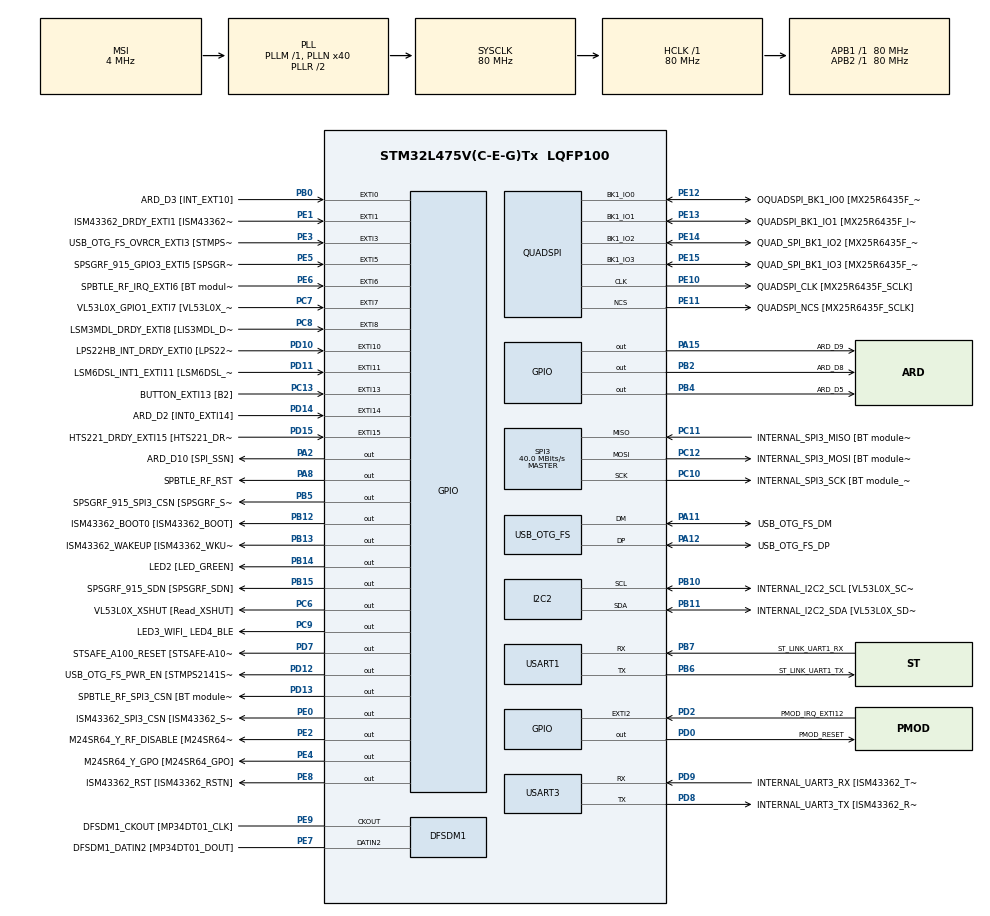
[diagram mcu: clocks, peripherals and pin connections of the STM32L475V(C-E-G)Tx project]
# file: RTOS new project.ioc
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FREERTOS.INCLUDE_xEventGroupSetBitFromISR=1
FREERTOS.INCLUDE_xTimerPendFunctionCall=1
FREERTOS.Tasks01=defaultTask,0,200,StartDefaultTask,Default,NULL,Dynamic,NULL,NULL
FREERTOS.configGENERATE_RUN_TIME_STATS=1
FREERTOS.configMINIMAL_STACK_SIZE=128
FREERTOS.configRECORD_STACK_HIGH_ADDRESS=1
FREERTOS.configTICK_RATE_HZ=200
FREERTOS.configTIMER_TASK_PRIORITY=6
FREERTOS.configTOTAL_HEAP_SIZE=20000
FREERTOS.configUSE_COUNTING_SEMAPHORES=1
FREERTOS.configUSE_NEWLIB_REENTRANT=1
FREERTOS.configUSE_STATS_FORMATTING_FUNCTIONS=1
FREERTOS.configUSE_TIMERS=1
FREERTOS.configUSE_TRACE_FACILITY=1
Mcu.Family=STM32L4
Mcu.Name=STM32L475V(C-E-G)Tx
Mcu.Package=LQFP100
NVIC.EXTI15_10_IRQn=true\:5\:0\:true\:false\:true\:true\:true\:true\:true
NVIC.EXTI1_IRQn=true\:5\:0\:false\:false\:true\:true\:true\:true\:true
NVIC.EXTI9_5_IRQn=true\:5\:0\:true\:false\:true\:true\:true\:true\:true
NVIC.PriorityGroup=NVIC_PRIORITYGROUP_4
NVIC.RTC_WKUP_IRQn=true\:7\:0\:true\:false\:true\:true\:true\:true\:true
NVIC.TIM1_UP_TIM16_IRQn=true\:15\:0\:false\:false\:true\:false\:false\:true\:true
NVIC.TIM6_DAC_IRQn=true\:5\:0\:false\:false\:true\:true\:true\:true\:true
NVIC.TIM7_IRQn=true\:5\:0\:true\:false\:true\:true\:true\:true\:true
NVIC.TimeBase=TIM1_UP_TIM16_IRQn
NVIC.TimeBaseIP=TIM1
PA0.GPIO_Label=ARD_D1 [UART4_TX]
PA0.Signal=UART4_TX
PA1.GPIO_Label=ARD_D0 [UART4_RX]
PA1.Signal=UART4_RX
PA10.GPIO_Label=USB_OTG_FS_ID
PA10.Signal=USB_OTG_FS_ID
PA11.GPIO_Label=USB_OTG_FS_DM
PA11.Mode=Device_Only
PA11.Signal=USB_OTG_FS_DM
PA12.GPIO_Label=USB_OTG_FS_DP
PA12.Mode=Device_Only
PA12.Signal=USB_OTG_FS_DP
PA13\ (JTMS-SWDIO).GPIO_Label=SYS_JTMS_SWDIO
PA13\ (JTMS-SWDIO).Mode=Serial_Wire
PA13\ (JTMS-SWDIO).Signal=SYS_JTMS-SWDIO
PA14\ (JTCK-SWCLK).GPIO_Label=SYS_JTCK_SWCLK
PA14\ (JTCK-SWCLK).Mode=Serial_Wire
PA14\ (JTCK-SWCLK).Signal=SYS_JTCK-SWCLK
PA15\ (JTDI).GPIO_Label=ARD_D9
PA15\ (JTDI).Signal=GPIO_Output
PA2.GPIO_Label=ARD_D10 [SPI_SSN]
PA2.Signal=GPIO_Output
PA3.GPIO_Label=ARD_D4
PA3.Signal=S_TIM2_CH4
PA4.GPIO_Label=ARD_D7
PA4.Signal=ADCx_IN9
PA5.GPIO_Label=ARD_D13 [SPI1_SCK]
PA5.Signal=SPI1_SCK
PA6.GPIO_Label=ARD_D12 [SPI1_MISO]
PA6.Signal=SPI1_MISO
PA7.GPIO_Label=ARD_D11 [SPI1_MOSI]
PA7.Signal=SPI1_MOSI
PA8.GPIO_Label=SPBTLE_RF_RST
PA8.Signal=GPIO_Output
PA9.GPIO_Label=USB_OTG_FS_VBUS [STMPS2141STR_OUT]
PA9.Signal=USB_OTG_FS_VBUS
PB0.GPIO_Label=ARD_D3 [INT_EXT10]
PB0.Signal=GPXTI0
PB1.GPIO_Label=ARD_D6 [ADC1_IN6]
PB1.Signal=ADCx_IN16
PB10.GPIO_Label=INTERNAL_I2C2_SCL [VL53L0X_SCL]
PB10.GPIO_Pu=GPIO_PULLUP
PB10.Mode=I2C
PB10.Signal=I2C2_SCL
PB11.GPIO_Label=INTERNAL_I2C2_SDA [VL53L0X_SDA]
PB11.GPIO_Pu=GPIO_PULLUP
PB11.Mode=I2C
PB11.Signal=I2C2_SDA
PB12.GPIO_Label=ISM43362_BOOT0 [ISM43362_BOOT]
PB12.Signal=GPIO_Output
PB13.GPIO_Label=ISM43362_WAKEUP [ISM43362_WKUP]
PB13.Signal=GPIO_Output
PB14.GPIO_Label=LED2 [LED_GREEN]
PB14.Signal=GPIO_Output
PB15.GPIO_Label=SPSGRF_915_SDN [SPSGRF_SDN]
PB15.Signal=GPIO_Output
PB2.GPIO_Label=ARD_D8
PB2.Signal=GPIO_Output
PB3\ (JTDO-TRACESWO).GPIO_Label=SYS_JTD0_SWO
PB3\ (JTDO-TRACESWO).Signal=SYS_JTDO-SWO
PB4\ (NJTRST).GPIO_Label=ARD_D5
PB4\ (NJTRST).Signal=GPIO_Output
PB5.GPIO_Label=SPSGRF_915_SPI3_CSN [SPSGRF_SPI_CS]
PB5.PinState=GPIO_PIN_SET
PB5.Signal=GPIO_Output
PB6.GPIO_Label=ST_LINK_UART1_TX
PB6.Mode=Asynchronous
PB6.Signal=USART1_TX
PB7.GPIO_Label=ST_LINK_UART1_RX
PB7.Mode=Asynchronous
PB7.Signal=USART1_RX
PB8.GPIO_Label=ARD_D15 [I2C1_SCL]
PB8.Signal=I2C1_SCL
PB9.GPIO_Label=ARD_D14 [I2C1_SDA]
PB9.Signal=I2C1_SDA
PC0.GPIO_Label=ARD_A5 [ADC]
PC0.Signal=ADCx_IN1
PC1.GPIO_Label=ARD_A4 [ADC]
PC1.Signal=ADCx_IN2
PC10.GPIO_Label=INTERNAL_SPI3_SCK [BT module_SPI_SCLK] [ISM43362_SCK]
PC10.Mode=Full_Duplex_Master
PC10.Signal=SPI3_SCK
PC11.GPIO_Label=INTERNAL_SPI3_MISO [BT module_SPI_MISO] [ISM43362_MISO]
PC11.Mode=Full_Duplex_Master
PC11.Signal=SPI3_MISO
PC12.GPIO_Label=INTERNAL_SPI3_MOSI [BT module_SPI_MOSI] [ISM43362_MOSI]
PC12.Mode=Full_Duplex_Master
PC12.Signal=SPI3_MOSI
PC13.GPIO_Label=BUTTON_EXTI13 [B2]
PC13.GPIO_ModeDefaultEXTI=GPIO_MODE_IT_FALLING
PC13.Signal=GPXTI13
PC14-OSC32_IN\ (PC14).Mode=LSE-External-Oscillator
PC14-OSC32_IN\ (PC14).Signal=RCC_OSC32_IN
PC15-OSC32_OUT\ (PC15).Mode=LSE-External-Oscillator
PC15-OSC32_OUT\ (PC15).Signal=RCC_OSC32_OUT
PC2.GPIO_Label=ARD_A3 [ADC]
PC2.Signal=ADCx_IN3
PC3.GPIO_Label=ARD_A2 [ADC]
PC3.Signal=ADCx_IN4
PC4.GPIO_Label=ARD_A1 [ADC]
PC4.Signal=ADCx_IN13
PC5.GPIO_Label=ARD_A0 [ADC]
PC5.Signal=ADCx_IN14
PC6.GPIO_Label=VL53L0X_XSHUT [Read_XSHUT]
PC6.Signal=GPIO_Output
PC7.GPIO_Label=VL53L0X_GPIO1_EXTI7 [VL53L0X_GPIO1]
PC7.Signal=GPXTI7
PC8.GPIO_Label=LSM3MDL_DRDY_EXTI8 [LIS3MDL_DRDY]
PC8.Signal=GPXTI8
PC9.GPIO_Label=LED3_WIFI_ LED4_BLE
PC9.Signal=GPIO_Output
PD0.GPIO_Label=PMOD_RESET
PD0.Signal=GPIO_Output
PD1.GPIO_Label=PMOD_SPI2_SCK
PD1.Signal=SPI2_SCK
PD10.GPIO_Label=LPS22HB_INT_DRDY_EXTI0 [LPS22HB_INT_DRDY] 
PD10.Signal=GPXTI10
PD11.GPIO_Label=LSM6DSL_INT1_EXTI11 [LSM6DSL_INT1]
PD11.Signal=GPXTI11
PD12.GPIO_Label=USB_OTG_FS_PWR_EN [STMPS2141STR_EN]
PD12.Signal=GPIO_Output
PD13.GPIO_Label=SPBTLE_RF_SPI3_CSN [BT module_SPI_CS]
PD13.PinState=GPIO_PIN_SET
PD13.Signal=GPIO_Output
PD14.GPIO_Label=ARD_D2 [INT0_EXTI14]
PD14.Signal=GPXTI14
PD15.GPIO_Label=HTS221_DRDY_EXTI15 [HTS221_DRDY]
PD15.Signal=GPXTI15
PD2.GPIO_Label=PMOD_IRQ_EXTI12
PD2.Signal=GPXTI2
PD3.GPIO_Label=PMOD_UART2_CTS
PD3.Signal=USART2_CTS
PD4.GPIO_Label=PMOD_UART2_RTS
PD4.Signal=USART2_RTS
PD5.GPIO_Label=PMOD_UART2_TX
PD5.Signal=USART2_TX
PD6.GPIO_Label=PMOD_UART2_RX
PD6.Signal=USART2_RX
PD7.GPIO_Label=STSAFE_A100_RESET [STSAFE-A100_RESET]
PD7.Signal=GPIO_Output
PD8.GPIO_Label=INTERNAL_UART3_TX [ISM43362_RX]
PD8.Mode=Asynchronous
PD8.Signal=USART3_TX
PD9.GPIO_Label=INTERNAL_UART3_RX [ISM43362_TX]
PD9.Mode=Asynchronous
PD9.Signal=USART3_RX
PE0.GPIO_Label=ISM43362_SPI3_CSN [ISM43362_SSN]
PE0.PinState=GPIO_PIN_SET
PE0.Signal=GPIO_Output
PE1.GPIO_Label=ISM43362_DRDY_EXTI1 [ISM43362_DATARDY]
PE1.Signal=GPXTI1
PE10.GPIO_Label=QUADSPI_CLK [MX25R6435F_SCLK]
PE10.Mode=Single Bank
PE10.Signal=QUADSPI_CLK
PE11.GPIO_Label=QUADSPI_NCS [MX25R6435F_SCLK]
PE11.Mode=Single Bank
PE11.Signal=QUADSPI_NCS
PE12.GPIO_Label=OQUADSPI_BK1_IO0 [MX25R6435F_IO0]
PE12.Mode=Single Bank
PE12.Signal=QUADSPI_BK1_IO0
PE13.GPIO_Label=QUADSPI_BK1_IO1 [MX25R6435F_IO1]
PE13.Mode=Single Bank
PE13.Signal=QUADSPI_BK1_IO1
PE14.GPIO_Label=QUAD_SPI_BK1_IO2 [MX25R6435F_IO2]
PE14.Mode=Single Bank
PE14.Signal=QUADSPI_BK1_IO2
PE15.GPIO_Label=QUAD_SPI_BK1_IO3 [MX25R6435F_IO3]
PE15.Mode=Single Bank
PE15.Signal=QUADSPI_BK1_IO3
PE2.GPIO_Label=M24SR64_Y_RF_DISABLE [M24SR64_RFDIS]
PE2.Signal=GPIO_Output
PE3.GPIO_Label=USB_OTG_FS_OVRCR_EXTI3 [STMPS2141STR_FAULT]
PE3.Signal=GPXTI3
PE4.GPIO_Label=M24SR64_Y_GPO [M24SR64_GPO]
PE4.Signal=GPIO_Output
PE5.GPIO_Label=SPSGRF_915_GPIO3_EXTI5 [SPSGRF_GPIO_3]
PE5.Signal=GPXTI5
PE6.GPIO_Label=SPBTLE_RF_IRQ_EXTI6 [BT module_SPI_IRQ]
PE6.Signal=GPXTI6
PE7.GPIO_Label=DFSDM1_DATIN2 [MP34DT01_DOUT]
PE7.Signal=S_DATAIN2DFSDM1
PE8.GPIO_Label=ISM43362_RST [ISM43362_RSTN]
PE8.Signal=GPIO_Output
PE9.GPIO_Label=DFSDM1_CKOUT [MP34DT01_CLK]
PE9.Signal=S_CKOUTDFSDM1
ProjectManager.HeapSize=0x200
ProjectManager.StackSize=0x400
ProjectManager.TargetToolchain=STM32CubeIDE
QUADSPI.ClockPrescaler=2
QUADSPI.FifoThreshold=4
QUADSPI.FlashSize=23
QUADSPI.SampleShifting=QSPI_SAMPLE_SHIFTING_HALFCYCLE
RCC.ADCFreq_Value=48000000
RCC.AHBFreq_Value=80000000
RCC.APB1Freq_Value=80000000
RCC.APB1TimFreq_Value=80000000
RCC.APB2Freq_Value=80000000
RCC.APB2TimFreq_Value=80000000
RCC.CortexFreq_Value=80000000
RCC.HCLKFreq_Value=80000000
RCC.HSE_VALUE=8000000
RCC.HSI_VALUE=16000000
RCC.MSI_VALUE=4000000
RCC.PLLN=40
RCC.PLLSAI1N=24
RCC.SYSCLKFreq_VALUE=80000000
RCC.SYSCLKSource=RCC_SYSCLKSOURCE_PLLCLK
RCC.USBFreq_Value=48000000
RCC.VCOOutputFreq_Value=160000000
SH.ADCx_IN1.0=ADC1_IN1
SH.ADCx_IN13.0=ADC1_IN13
SH.ADCx_IN14.0=ADC1_IN14
SH.ADCx_IN16.0=ADC1_IN16
SH.ADCx_IN2.0=ADC1_IN2
SH.ADCx_IN3.0=ADC1_IN3
SH.ADCx_IN4.0=ADC1_IN4
SH.ADCx_IN9.0=ADC1_IN9
SH.S_CKOUTDFSDM1.0=DFSDM1_CKOUT,CKOUT
SH.S_CKOUTDFSDM1.1=DFSDM1_CKOUT,PDM_SPI_Input_from_ch12_and_Internal_Clock
SH.S_DATAIN2DFSDM1.0=DFSDM1_DATIN2,PDM_SPI_Input_from_ch12_and_Internal_Clock
SH.S_TIM2_CH4.0=TIM2_CH4
SPI3.CalculateBaudRate=40.0 MBits/s
SPI3.Direction=SPI_DIRECTION_2LINES
SPI3.Mode=SPI_MODE_MASTER
SPI3.VirtualType=VM_MASTER
TIM6.Period=49999
TIM6.Prescaler=7999
TIM7.Period=7999
USART1.VirtualMode-Asynchronous=VM_ASYNC
USART3.VirtualMode-Asynchronous=VM_ASYNC
USB_OTG_FS.VirtualMode=Device_Only
VP_FREERTOS_VS_CMSIS_V1.Mode=CMSIS_V1
VP_RNG_VS_RNG.Mode=RNG_Activate
VP_RTC_VS_RTC_Activate.Mode=RTC_Enabled
VP_RTC_VS_RTC_WakeUp_intern.Mode=WakeUp
VP_SYS_VS_tim1.Mode=TIM1
VP_TIM6_VS_ClockSourceINT.Mode=Enable_Timer
VP_TIM7_VS_ClockSourceINT.Mode=Enable_Timer
board=B-L475E-IOT01A1

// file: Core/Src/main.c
/* USER CODE BEGIN Header */
/**
  ******************************************************************************
  * @file           : main.c
  * @brief          : Main program body
  ******************************************************************************
  * @attention
  *
  * Copyright (c) 2022 STMicroelectronics.
  * All rights reserved.
  *
  * This software is licensed under terms that can be found in the LICENSE file
  * in the root directory of this software component.
  * If no LICENSE file comes with this software, it is provided AS-IS.
  *
  ******************************************************************************
  */

/*
 * V1.0
 * Niall O'Keeffe
 * 18/10/2024
 *
 * FreeRTOS IoT project
 * Connects to Ubidots MQTT broker
 * Retrieves time and date from the network and prints to terminal every second
 * Publishes a temperature when the user button is pressed
 * Subscribes to an MQTT topic that controls LED2
 *
 * An initialisation task is created on startup
 * Initialisation task performs the following functions: -
 * 		Connect to WiFi access point
 * 		Retrieves data and time from network
 * 		Connects to MQTT broker
 * 		Creates semaphores used for task synchronisation
 * 		Creates RTC and Temperature tasks
 * 		Subscribed to an MQTT LED control topic
 *
 * Publish task publishes a temperature to an MQTT topic every 5 seconds on taking a semaphore
 * from the Timer 6 interrupt handler callback
 *
 * RTC task prints time and date every second on taking semaphore from RTC event interrupt
 *  handler callback
 *
 * Project uses 3 timers: -
 * 		Timer 1 is used as RTOS timebase and should not be used by application
 * 		Timer 7 is used for real time RTOS debug statistics and should not be used by application
 *
 * The project application uses the following interrupts
 * 		User button EXTI interrupt
 * 		RTC 1-second event interrupt
 *
 * User credentials must be configured before building the project
 * 		Edit WiFi access point SSID and password in WiFi_Credentials.h
 * 		Edit username, password and clientID in CloudBrokerCredentials.h
 */

/* USER CODE END Header */
#include "main.h"
#include "cmsis_os.h"

/* USER CODE BEGIN Includes */
#include <string.h>
#include "userApp.h"
/* USER CODE END Includes */

DFSDM_Channel_HandleTypeDef hdfsdm1_channel1;

I2C_HandleTypeDef hi2c2;

QSPI_HandleTypeDef hqspi;

RNG_HandleTypeDef hrng;

RTC_HandleTypeDef hrtc;

SPI_HandleTypeDef hspi3;

TIM_HandleTypeDef htim6;
TIM_HandleTypeDef htim7;

UART_HandleTypeDef huart1;
UART_HandleTypeDef huart3;

PCD_HandleTypeDef hpcd_USB_OTG_FS;

osThreadId defaultTaskHandle;
/* USER CODE BEGIN PV */
volatile unsigned long ulHighFrequencyTimerTicks;
/* USER CODE END PV */

void SystemClock_Config(void);
void PeriphCommonClock_Config(void);
static void MX_GPIO_Init(void);
static void MX_DFSDM1_Init(void);
static void MX_I2C2_Init(void);
static void MX_QUADSPI_Init(void);
static void MX_SPI3_Init(void);
static void MX_USART1_UART_Init(void);
static void MX_USART3_UART_Init(void);
static void MX_USB_OTG_FS_PCD_Init(void);
static void MX_TIM7_Init(void);
static void MX_RNG_Init(void);
static void MX_RTC_Init(void);
static void MX_TIM6_Init(void);
void StartDefaultTask(void const * argument);

/* USER CODE BEGIN PFP */
int network_wr(Network* n, unsigned char* buffer, int len, int timeout_ms);
int network_rd(Network* n, unsigned char* buffer, int len, int timeout_ms);

extern int net_if_init(void * if_ctxt);
extern int net_if_deinit(void * if_ctxt);
extern int net_if_reinit(void * if_ctxt);
extern int wifi_net_if_init(void * if_ctxt);

void SPI_WIFI_ISR(void);
/* USER CODE END PFP */

/* USER CODE BEGIN 0 */
int _write(int file, char *ptr, int len) {
	HAL_UART_Transmit(&huart1, (uint8_t*)ptr, len, HAL_MAX_DELAY);
	return len;
}

void configureTimerForRunTimeStats(void)
{
    ulHighFrequencyTimerTicks = 0;
    HAL_TIM_Base_Start_IT(&htim7);
}

unsigned long getRunTimeCounterValue(void)
{
	return ulHighFrequencyTimerTicks;
}

/* USER CODE END 0 */

int main(void)
{

  /* MCU Configuration--------------------------------------------------------*/

  /* Reset of all peripherals, Initializes the Flash interface and the Systick. */
  HAL_Init();

  /* Configure the system clock */
  SystemClock_Config();

/* Configure the peripherals common clocks */
  PeriphCommonClock_Config();

  /* Initialize all configured peripherals */
  MX_GPIO_Init();
  MX_DFSDM1_Init();
  MX_I2C2_Init();
  MX_QUADSPI_Init();
  MX_SPI3_Init();
  MX_USART1_UART_Init();
  MX_USART3_UART_Init();
  MX_USB_OTG_FS_PCD_Init();
  MX_TIM7_Init();
  MX_RNG_Init();
  MX_RTC_Init();
  MX_TIM6_Init();
  /* USER CODE BEGIN 2 */
  printf("IoT Project\r\n\n");
  userApp();

  /* USER CODE END 2 */

  /* Create the thread(s) */
  /* definition and creation of defaultTask */
  osThreadDef(defaultTask, StartDefaultTask, osPriorityNormal, 0, 200);
  defaultTaskHandle = osThreadCreate(osThread(defaultTask), NULL);

  /* Start scheduler */
  osKernelStart();

  /* We should never get here as control is now taken by the scheduler */

  /* Infinite loop */
  while (1)
  {

  }
}

void SystemClock_Config(void)
{
  RCC_OscInitTypeDef RCC_OscInitStruct = {0};
  RCC_ClkInitTypeDef RCC_ClkInitStruct = {0};

  /** Configure the main internal regulator output voltage
  */
  if (HAL_PWREx_ControlVoltageScaling(PWR_REGULATOR_VOLTAGE_SCALE1) != HAL_OK)
  {
    Error_Handler();
  }

  /** Configure LSE Drive Capability
  */
  HAL_PWR_EnableBkUpAccess();
  __HAL_RCC_LSEDRIVE_CONFIG(RCC_LSEDRIVE_LOW);

  /** Initializes the RCC Oscillators according to the specified parameters
  * in the RCC_OscInitTypeDef structure.
  */
  RCC_OscInitStruct.OscillatorType = RCC_OSCILLATORTYPE_LSI|RCC_OSCILLATORTYPE_LSE
                              |RCC_OSCILLATORTYPE_MSI;
  RCC_OscInitStruct.LSEState = RCC_LSE_ON;
  RCC_OscInitStruct.LSIState = RCC_LSI_ON;
  RCC_OscInitStruct.MSIState = RCC_MSI_ON;
  RCC_OscInitStruct.MSICalibrationValue = 0;
  RCC_OscInitStruct.MSIClockRange = RCC_MSIRANGE_6;
  RCC_OscInitStruct.PLL.PLLState = RCC_PLL_ON;
  RCC_OscInitStruct.PLL.PLLSource = RCC_PLLSOURCE_MSI;
  RCC_OscInitStruct.PLL.PLLM = 1;
  RCC_OscInitStruct.PLL.PLLN = 40;
  RCC_OscInitStruct.PLL.PLLP = RCC_PLLP_DIV7;
  RCC_OscInitStruct.PLL.PLLQ = RCC_PLLQ_DIV2;
  RCC_OscInitStruct.PLL.PLLR = RCC_PLLR_DIV2;
  if (HAL_RCC_OscConfig(&RCC_OscInitStruct) != HAL_OK)
  {
    Error_Handler();
  }

  /** Initializes the CPU, AHB and APB buses clocks
  */
  RCC_ClkInitStruct.ClockType = RCC_CLOCKTYPE_HCLK|RCC_CLOCKTYPE_SYSCLK
                              |RCC_CLOCKTYPE_PCLK1|RCC_CLOCKTYPE_PCLK2;
  RCC_ClkInitStruct.SYSCLKSource = RCC_SYSCLKSOURCE_PLLCLK;
  RCC_ClkInitStruct.AHBCLKDivider = RCC_SYSCLK_DIV1;
  RCC_ClkInitStruct.APB1CLKDivider = RCC_HCLK_DIV1;
  RCC_ClkInitStruct.APB2CLKDivider = RCC_HCLK_DIV1;

  if (HAL_RCC_ClockConfig(&RCC_ClkInitStruct, FLASH_LATENCY_4) != HAL_OK)
  {
    Error_Handler();
  }

  /** Enable MSI Auto calibration
  */
  HAL_RCCEx_EnableMSIPLLMode();
}

void PeriphCommonClock_Config(void)
{
  RCC_PeriphCLKInitTypeDef PeriphClkInit = {0};

  /** Initializes the peripherals clock
  */
  PeriphClkInit.PeriphClockSelection = RCC_PERIPHCLK_USB|RCC_PERIPHCLK_RNG;
  PeriphClkInit.UsbClockSelection = RCC_USBCLKSOURCE_PLLSAI1;
  PeriphClkInit.RngClockSelection = RCC_RNGCLKSOURCE_PLLSAI1;
  PeriphClkInit.PLLSAI1.PLLSAI1Source = RCC_PLLSOURCE_MSI;
  PeriphClkInit.PLLSAI1.PLLSAI1M = 1;
  PeriphClkInit.PLLSAI1.PLLSAI1N = 24;
  PeriphClkInit.PLLSAI1.PLLSAI1P = RCC_PLLP_DIV7;
  PeriphClkInit.PLLSAI1.PLLSAI1Q = RCC_PLLQ_DIV2;
  PeriphClkInit.PLLSAI1.PLLSAI1R = RCC_PLLR_DIV2;
  PeriphClkInit.PLLSAI1.PLLSAI1ClockOut = RCC_PLLSAI1_48M2CLK;
  if (HAL_RCCEx_PeriphCLKConfig(&PeriphClkInit) != HAL_OK)
  {
    Error_Handler();
  }
}

static void MX_DFSDM1_Init(void)
{

  hdfsdm1_channel1.Instance = DFSDM1_Channel1;
  hdfsdm1_channel1.Init.OutputClock.Activation = ENABLE;
  hdfsdm1_channel1.Init.OutputClock.Selection = DFSDM_CHANNEL_OUTPUT_CLOCK_SYSTEM;
  hdfsdm1_channel1.Init.OutputClock.Divider = 2;
  hdfsdm1_channel1.Init.Input.Multiplexer = DFSDM_CHANNEL_EXTERNAL_INPUTS;
  hdfsdm1_channel1.Init.Input.DataPacking = DFSDM_CHANNEL_STANDARD_MODE;
  hdfsdm1_channel1.Init.Input.Pins = DFSDM_CHANNEL_FOLLOWING_CHANNEL_PINS;
  hdfsdm1_channel1.Init.SerialInterface.Type = DFSDM_CHANNEL_SPI_RISING;
  hdfsdm1_channel1.Init.SerialInterface.SpiClock = DFSDM_CHANNEL_SPI_CLOCK_INTERNAL;
  hdfsdm1_channel1.Init.Awd.FilterOrder = DFSDM_CHANNEL_FASTSINC_ORDER;
  hdfsdm1_channel1.Init.Awd.Oversampling = 1;
  hdfsdm1_channel1.Init.Offset = 0;
  hdfsdm1_channel1.Init.RightBitShift = 0x00;
  if (HAL_DFSDM_ChannelInit(&hdfsdm1_channel1) != HAL_OK)
  {
    Error_Handler();
  }

}

static void MX_I2C2_Init(void)
{

  hi2c2.Instance = I2C2;
  hi2c2.Init.Timing = 0x00000E14;
  hi2c2.Init.OwnAddress1 = 0;
  hi2c2.Init.AddressingMode = I2C_ADDRESSINGMODE_7BIT;
  hi2c2.Init.DualAddressMode = I2C_DUALADDRESS_DISABLE;
  hi2c2.Init.OwnAddress2 = 0;
  hi2c2.Init.OwnAddress2Masks = I2C_OA2_NOMASK;
  hi2c2.Init.GeneralCallMode = I2C_GENERALCALL_DISABLE;
  hi2c2.Init.NoStretchMode = I2C_NOSTRETCH_DISABLE;
  if (HAL_I2C_Init(&hi2c2) != HAL_OK)
  {
    Error_Handler();
  }

  /** Configure Analogue filter
  */
  if (HAL_I2CEx_ConfigAnalogFilter(&hi2c2, I2C_ANALOGFILTER_ENABLE) != HAL_OK)
  {
    Error_Handler();
  }

  /** Configure Digital filter
  */
  if (HAL_I2CEx_ConfigDigitalFilter(&hi2c2, 0) != HAL_OK)
  {
    Error_Handler();
  }

}

static void MX_QUADSPI_Init(void)
{

  /* QUADSPI parameter configuration*/
  hqspi.Instance = QUADSPI;
  hqspi.Init.ClockPrescaler = 2;
  hqspi.Init.FifoThreshold = 4;
  hqspi.Init.SampleShifting = QSPI_SAMPLE_SHIFTING_HALFCYCLE;
  hqspi.Init.FlashSize = 23;
  hqspi.Init.ChipSelectHighTime = QSPI_CS_HIGH_TIME_1_CYCLE;
  hqspi.Init.ClockMode = QSPI_CLOCK_MODE_0;
  if (HAL_QSPI_Init(&hqspi) != HAL_OK)
  {
    Error_Handler();
  }

}

static void MX_RNG_Init(void)
{

  hrng.Instance = RNG;
  if (HAL_RNG_Init(&hrng) != HAL_OK)
  {
    Error_Handler();
  }

}

static void MX_RTC_Init(void)
{

  /** Initialize RTC Only
  */
  hrtc.Instance = RTC;
  hrtc.Init.HourFormat = RTC_HOURFORMAT_24;
  hrtc.Init.AsynchPrediv = 127;
  hrtc.Init.SynchPrediv = 255;
  hrtc.Init.OutPut = RTC_OUTPUT_DISABLE;
  hrtc.Init.OutPutRemap = RTC_OUTPUT_REMAP_NONE;
  hrtc.Init.OutPutPolarity = RTC_OUTPUT_POLARITY_HIGH;
  hrtc.Init.OutPutType = RTC_OUTPUT_TYPE_OPENDRAIN;
  if (HAL_RTC_Init(&hrtc) != HAL_OK)
  {
    Error_Handler();
  }

}

static void MX_SPI3_Init(void)
{

  /* SPI3 parameter configuration*/
  hspi3.Instance = SPI3;
  hspi3.Init.Mode = SPI_MODE_MASTER;
  hspi3.Init.Direction = SPI_DIRECTION_2LINES;
  hspi3.Init.DataSize = SPI_DATASIZE_4BIT;
  hspi3.Init.CLKPolarity = SPI_POLARITY_LOW;
  hspi3.Init.CLKPhase = SPI_PHASE_1EDGE;
  hspi3.Init.NSS = SPI_NSS_SOFT;
  hspi3.Init.BaudRatePrescaler = SPI_BAUDRATEPRESCALER_2;
  hspi3.Init.FirstBit = SPI_FIRSTBIT_MSB;
  hspi3.Init.TIMode = SPI_TIMODE_DISABLE;
  hspi3.Init.CRCCalculation = SPI_CRCCALCULATION_DISABLE;
  hspi3.Init.CRCPolynomial = 7;
  hspi3.Init.CRCLength = SPI_CRC_LENGTH_DATASIZE;
  hspi3.Init.NSSPMode = SPI_NSS_PULSE_ENABLE;
  if (HAL_SPI_Init(&hspi3) != HAL_OK)
  {
    Error_Handler();
  }

}

static void MX_TIM6_Init(void)
{

  TIM_MasterConfigTypeDef sMasterConfig = {0};

  htim6.Instance = TIM6;
  htim6.Init.Prescaler = 7999;
  htim6.Init.CounterMode = TIM_COUNTERMODE_UP;
  htim6.Init.Period = 49999;
  htim6.Init.AutoReloadPreload = TIM_AUTORELOAD_PRELOAD_DISABLE;
  if (HAL_TIM_Base_Init(&htim6) != HAL_OK)
  {
    Error_Handler();
  }
  sMasterConfig.MasterOutputTrigger = TIM_TRGO_RESET;
  sMasterConfig.MasterSlaveMode = TIM_MASTERSLAVEMODE_DISABLE;
  if (HAL_TIMEx_MasterConfigSynchronization(&htim6, &sMasterConfig) != HAL_OK)
  {
    Error_Handler();
  }

}

static void MX_TIM7_Init(void)
{

  TIM_MasterConfigTypeDef sMasterConfig = {0};

  htim7.Instance = TIM7;
  htim7.Init.Prescaler = 0;
  htim7.Init.CounterMode = TIM_COUNTERMODE_UP;
  htim7.Init.Period = 7999;
  htim7.Init.AutoReloadPreload = TIM_AUTORELOAD_PRELOAD_DISABLE;
  if (HAL_TIM_Base_Init(&htim7) != HAL_OK)
  {
    Error_Handler();
  }
  sMasterConfig.MasterOutputTrigger = TIM_TRGO_RESET;
  sMasterConfig.MasterSlaveMode = TIM_MASTERSLAVEMODE_DISABLE;
  if (HAL_TIMEx_MasterConfigSynchronization(&htim7, &sMasterConfig) != HAL_OK)
  {
    Error_Handler();
  }

}

static void MX_USART1_UART_Init(void)
{

  huart1.Instance = USART1;
  huart1.Init.BaudRate = 115200;
  huart1.Init.WordLength = UART_WORDLENGTH_8B;
  huart1.Init.StopBits = UART_STOPBITS_1;
  huart1.Init.Parity = UART_PARITY_NONE;
  huart1.Init.Mode = UART_MODE_TX_RX;
  huart1.Init.HwFlowCtl = UART_HWCONTROL_NONE;
  huart1.Init.OverSampling = UART_OVERSAMPLING_16;
  huart1.Init.OneBitSampling = UART_ONE_BIT_SAMPLE_DISABLE;
  huart1.AdvancedInit.AdvFeatureInit = UART_ADVFEATURE_NO_INIT;
  if (HAL_UART_Init(&huart1) != HAL_OK)
  {
    Error_Handler();
  }

}

static void MX_USART3_UART_Init(void)
{

  huart3.Instance = USART3;
  huart3.Init.BaudRate = 115200;
  huart3.Init.WordLength = UART_WORDLENGTH_8B;
  huart3.Init.StopBits = UART_STOPBITS_1;
  huart3.Init.Parity = UART_PARITY_NONE;
  huart3.Init.Mode = UART_MODE_TX_RX;
  huart3.Init.HwFlowCtl = UART_HWCONTROL_NONE;
  huart3.Init.OverSampling = UART_OVERSAMPLING_16;
  huart3.Init.OneBitSampling = UART_ONE_BIT_SAMPLE_DISABLE;
  huart3.AdvancedInit.AdvFeatureInit = UART_ADVFEATURE_NO_INIT;
  if (HAL_UART_Init(&huart3) != HAL_OK)
  {
    Error_Handler();
  }

}

static void MX_USB_OTG_FS_PCD_Init(void)
{

  hpcd_USB_OTG_FS.Instance = USB_OTG_FS;
  hpcd_USB_OTG_FS.Init.dev_endpoints = 6;
  hpcd_USB_OTG_FS.Init.speed = PCD_SPEED_FULL;
  hpcd_USB_OTG_FS.Init.phy_itface = PCD_PHY_EMBEDDED;
  hpcd_USB_OTG_FS.Init.Sof_enable = DISABLE;
  hpcd_USB_OTG_FS.Init.low_power_enable = DISABLE;
  hpcd_USB_OTG_FS.Init.lpm_enable = DISABLE;
  hpcd_USB_OTG_FS.Init.battery_charging_enable = DISABLE;
  hpcd_USB_OTG_FS.Init.use_dedicated_ep1 = DISABLE;
  hpcd_USB_OTG_FS.Init.vbus_sensing_enable = DISABLE;
  if (HAL_PCD_Init(&hpcd_USB_OTG_FS) != HAL_OK)
  {
    Error_Handler();
  }

}

static void MX_GPIO_Init(void)
{
  GPIO_InitTypeDef GPIO_InitStruct = {0};

  /* GPIO Ports Clock Enable */
  __HAL_RCC_GPIOE_CLK_ENABLE();
  __HAL_RCC_GPIOC_CLK_ENABLE();
  __HAL_RCC_GPIOA_CLK_ENABLE();
  __HAL_RCC_GPIOB_CLK_ENABLE();
  __HAL_RCC_GPIOD_CLK_ENABLE();

  /*Configure GPIO pin Output Level */
  HAL_GPIO_WritePin(GPIOE, M24SR64_Y_RF_DISABLE_Pin|M24SR64_Y_GPO_Pin|ISM43362_RST_Pin, GPIO_PIN_RESET);

  /*Configure GPIO pin Output Level */
  HAL_GPIO_WritePin(GPIOA, ARD_D10_Pin|SPBTLE_RF_RST_Pin|ARD_D9_Pin, GPIO_PIN_RESET);

  /*Configure GPIO pin Output Level */
  HAL_GPIO_WritePin(GPIOB, ARD_D8_Pin|ISM43362_BOOT0_Pin|ISM43362_WAKEUP_Pin|LED2_Pin
                          |SPSGRF_915_SDN_Pin|ARD_D5_Pin, GPIO_PIN_RESET);

  /*Configure GPIO pin Output Level */
  HAL_GPIO_WritePin(GPIOD, USB_OTG_FS_PWR_EN_Pin|PMOD_RESET_Pin|STSAFE_A100_RESET_Pin, GPIO_PIN_RESET);

  /*Configure GPIO pin Output Level */
  HAL_GPIO_WritePin(SPBTLE_RF_SPI3_CSN_GPIO_Port, SPBTLE_RF_SPI3_CSN_Pin, GPIO_PIN_SET);

  /*Configure GPIO pin Output Level */
  HAL_GPIO_WritePin(GPIOC, VL53L0X_XSHUT_Pin|LED3_WIFI__LED4_BLE_Pin, GPIO_PIN_RESET);

  /*Configure GPIO pin Output Level */
  HAL_GPIO_WritePin(SPSGRF_915_SPI3_CSN_GPIO_Port, SPSGRF_915_SPI3_CSN_Pin, GPIO_PIN_SET);

  /*Configure GPIO pin Output Level */
  HAL_GPIO_WritePin(ISM43362_SPI3_CSN_GPIO_Port, ISM43362_SPI3_CSN_Pin, GPIO_PIN_SET);

  /*Configure GPIO pins : M24SR64_Y_RF_DISABLE_Pin M24SR64_Y_GPO_Pin ISM43362_RST_Pin ISM43362_SPI3_CSN_Pin */
  GPIO_InitStruct.Pin = M24SR64_Y_RF_DISABLE_Pin|M24SR64_Y_GPO_Pin|ISM43362_RST_Pin|ISM43362_SPI3_CSN_Pin;
  GPIO_InitStruct.Mode = GPIO_MODE_OUTPUT_PP;
  GPIO_InitStruct.Pull = GPIO_NOPULL;
  GPIO_InitStruct.Speed = GPIO_SPEED_FREQ_LOW;
  HAL_GPIO_Init(GPIOE, &GPIO_InitStruct);

  /*Configure GPIO pins : USB_OTG_FS_OVRCR_EXTI3_Pin SPSGRF_915_GPIO3_EXTI5_Pin SPBTLE_RF_IRQ_EXTI6_Pin ISM43362_DRDY_EXTI1_Pin */
  GPIO_InitStruct.Pin = USB_OTG_FS_OVRCR_EXTI3_Pin|SPSGRF_915_GPIO3_EXTI5_Pin|SPBTLE_RF_IRQ_EXTI6_Pin|ISM43362_DRDY_EXTI1_Pin;
  GPIO_InitStruct.Mode = GPIO_MODE_IT_RISING;
  GPIO_InitStruct.Pull = GPIO_NOPULL;
  HAL_GPIO_Init(GPIOE, &GPIO_InitStruct);

  /*Configure GPIO pin : BUTTON_EXTI13_Pin */
  GPIO_InitStruct.Pin = BUTTON_EXTI13_Pin;
  GPIO_InitStruct.Mode = GPIO_MODE_IT_FALLING;
  GPIO_InitStruct.Pull = GPIO_NOPULL;
  HAL_GPIO_Init(BUTTON_EXTI13_GPIO_Port, &GPIO_InitStruct);

  /*Configure GPIO pins : ARD_A5_Pin ARD_A4_Pin ARD_A3_Pin ARD_A2_Pin
                           ARD_A1_Pin ARD_A0_Pin */
  GPIO_InitStruct.Pin = ARD_A5_Pin|ARD_A4_Pin|ARD_A3_Pin|ARD_A2_Pin
                          |ARD_A1_Pin|ARD_A0_Pin;
  GPIO_InitStruct.Mode = GPIO_MODE_ANALOG_ADC_CONTROL;
  GPIO_InitStruct.Pull = GPIO_NOPULL;
  HAL_GPIO_Init(GPIOC, &GPIO_InitStruct);

  /*Configure GPIO pins : ARD_D1_Pin ARD_D0_Pin */
  GPIO_InitStruct.Pin = ARD_D1_Pin|ARD_D0_Pin;
  GPIO_InitStruct.Mode = GPIO_MODE_AF_PP;
  GPIO_InitStruct.Pull = GPIO_NOPULL;
  GPIO_InitStruct.Speed = GPIO_SPEED_FREQ_VERY_HIGH;
  GPIO_InitStruct.Alternate = GPIO_AF8_UART4;
  HAL_GPIO_Init(GPIOA, &GPIO_InitStruct);

  /*Configure GPIO pins : ARD_D10_Pin SPBTLE_RF_RST_Pin ARD_D9_Pin */
  GPIO_InitStruct.Pin = ARD_D10_Pin|SPBTLE_RF_RST_Pin|ARD_D9_Pin;
  GPIO_InitStruct.Mode = GPIO_MODE_OUTPUT_PP;
  GPIO_InitStruct.Pull = GPIO_NOPULL;
  GPIO_InitStruct.Speed = GPIO_SPEED_FREQ_LOW;
  HAL_GPIO_Init(GPIOA, &GPIO_InitStruct);

  /*Configure GPIO pin : ARD_D4_Pin */
  GPIO_InitStruct.Pin = ARD_D4_Pin;
  GPIO_InitStruct.Mode = GPIO_MODE_AF_PP;
  GPIO_InitStruct.Pull = GPIO_NOPULL;
  GPIO_InitStruct.Speed = GPIO_SPEED_FREQ_LOW;
  GPIO_InitStruct.Alternate = GPIO_AF1_TIM2;
  HAL_GPIO_Init(ARD_D4_GPIO_Port, &GPIO_InitStruct);

  /*Configure GPIO pin : ARD_D7_Pin */
  GPIO_InitStruct.Pin = ARD_D7_Pin;
  GPIO_InitStruct.Mode = GPIO_MODE_ANALOG_ADC_CONTROL;
  GPIO_InitStruct.Pull = GPIO_NOPULL;
  HAL_GPIO_Init(ARD_D7_GPIO_Port, &GPIO_InitStruct);

  /*Configure GPIO pins : ARD_D13_Pin ARD_D12_Pin ARD_D11_Pin */
  GPIO_InitStruct.Pin = ARD_D13_Pin|ARD_D12_Pin|ARD_D11_Pin;
  GPIO_InitStruct.Mode = GPIO_MODE_AF_PP;
  GPIO_InitStruct.Pull = GPIO_NOPULL;
  GPIO_InitStruct.Speed = GPIO_SPEED_FREQ_VERY_HIGH;
  GPIO_InitStruct.Alternate = GPIO_AF5_SPI1;
  HAL_GPIO_Init(GPIOA, &GPIO_InitStruct);

  /*Configure GPIO pin : ARD_D3_Pin */
  GPIO_InitStruct.Pin = ARD_D3_Pin;
  GPIO_InitStruct.Mode = GPIO_MODE_IT_RISING;
  GPIO_InitStruct.Pull = GPIO_NOPULL;
  HAL_GPIO_Init(ARD_D3_GPIO_Port, &GPIO_InitStruct);

  /*Configure GPIO pin : ARD_D6_Pin */
  GPIO_InitStruct.Pin = ARD_D6_Pin;
  GPIO_InitStruct.Mode = GPIO_MODE_ANALOG_ADC_CONTROL;
  GPIO_InitStruct.Pull = GPIO_NOPULL;
  HAL_GPIO_Init(ARD_D6_GPIO_Port, &GPIO_InitStruct);

  /*Configure GPIO pins : ARD_D8_Pin ISM43362_BOOT0_Pin ISM43362_WAKEUP_Pin LED2_Pin
                           SPSGRF_915_SDN_Pin ARD_D5_Pin SPSGRF_915_SPI3_CSN_Pin */
  GPIO_InitStruct.Pin = ARD_D8_Pin|ISM43362_BOOT0_Pin|ISM43362_WAKEUP_Pin|LED2_Pin
                          |SPSGRF_915_SDN_Pin|ARD_D5_Pin|SPSGRF_915_SPI3_CSN_Pin;
  GPIO_InitStruct.Mode = GPIO_MODE_OUTPUT_PP;
  GPIO_InitStruct.Pull = GPIO_NOPULL;
  GPIO_InitStruct.Speed = GPIO_SPEED_FREQ_LOW;
  HAL_GPIO_Init(GPIOB, &GPIO_InitStruct);

  /*Configure GPIO pins : LPS22HB_INT_DRDY_EXTI0_Pin LSM6DSL_INT1_EXTI11_Pin ARD_D2_Pin HTS221_DRDY_EXTI15_Pin
                           PMOD_IRQ_EXTI12_Pin */
  GPIO_InitStruct.Pin = LPS22HB_INT_DRDY_EXTI0_Pin|LSM6DSL_INT1_EXTI11_Pin|ARD_D2_Pin|HTS221_DRDY_EXTI15_Pin
                          |PMOD_IRQ_EXTI12_Pin;
  GPIO_InitStruct.Mode = GPIO_MODE_IT_RISING;
  GPIO_InitStruct.Pull = GPIO_NOPULL;
  HAL_GPIO_Init(GPIOD, &GPIO_InitStruct);

  /*Configure GPIO pins : USB_OTG_FS_PWR_EN_Pin SPBTLE_RF_SPI3_CSN_Pin PMOD_RESET_Pin STSAFE_A100_RESET_Pin */
  GPIO_InitStruct.Pin = USB_OTG_FS_PWR_EN_Pin|SPBTLE_RF_SPI3_CSN_Pin|PMOD_RESET_Pin|STSAFE_A100_RESET_Pin;
  GPIO_InitStruct.Mode = GPIO_MODE_OUTPUT_PP;
  GPIO_InitStruct.Pull = GPIO_NOPULL;
  GPIO_InitStruct.Speed = GPIO_SPEED_FREQ_LOW;
  HAL_GPIO_Init(GPIOD, &GPIO_InitStruct);

  /*Configure GPIO pins : VL53L0X_XSHUT_Pin LED3_WIFI__LED4_BLE_Pin */
  GPIO_InitStruct.Pin = VL53L0X_XSHUT_Pin|LED3_WIFI__LED4_BLE_Pin;
  GPIO_InitStruct.Mode = GPIO_MODE_OUTPUT_PP;
  GPIO_InitStruct.Pull = GPIO_NOPULL;
  GPIO_InitStruct.Speed = GPIO_SPEED_FREQ_LOW;
  HAL_GPIO_Init(GPIOC, &GPIO_InitStruct);

  /*Configure GPIO pins : VL53L0X_GPIO1_EXTI7_Pin LSM3MDL_DRDY_EXTI8_Pin */
  GPIO_InitStruct.Pin = VL53L0X_GPIO1_EXTI7_Pin|LSM3MDL_DRDY_EXTI8_Pin;
  GPIO_InitStruct.Mode = GPIO_MODE_IT_RISING;
  GPIO_InitStruct.Pull = GPIO_NOPULL;
  HAL_GPIO_Init(GPIOC, &GPIO_InitStruct);

  /*Configure GPIO pin : PMOD_SPI2_SCK_Pin */
  GPIO_InitStruct.Pin = PMOD_SPI2_SCK_Pin;
  GPIO_InitStruct.Mode = GPIO_MODE_AF_PP;
  GPIO_InitStruct.Pull = GPIO_NOPULL;
  GPIO_InitStruct.Speed = GPIO_SPEED_FREQ_VERY_HIGH;
  GPIO_InitStruct.Alternate = GPIO_AF5_SPI2;
  HAL_GPIO_Init(PMOD_SPI2_SCK_GPIO_Port, &GPIO_InitStruct);

  /*Configure GPIO pins : PMOD_UART2_CTS_Pin PMOD_UART2_RTS_Pin PMOD_UART2_TX_Pin PMOD_UART2_RX_Pin */
  GPIO_InitStruct.Pin = PMOD_UART2_CTS_Pin|PMOD_UART2_RTS_Pin|PMOD_UART2_TX_Pin|PMOD_UART2_RX_Pin;
  GPIO_InitStruct.Mode = GPIO_MODE_AF_PP;
  GPIO_InitStruct.Pull = GPIO_NOPULL;
  GPIO_InitStruct.Speed = GPIO_SPEED_FREQ_VERY_HIGH;
  GPIO_InitStruct.Alternate = GPIO_AF7_USART2;
  HAL_GPIO_Init(GPIOD, &GPIO_InitStruct);

  /*Configure GPIO pins : ARD_D15_Pin ARD_D14_Pin */
  GPIO_InitStruct.Pin = ARD_D15_Pin|ARD_D14_Pin;
  GPIO_InitStruct.Mode = GPIO_MODE_AF_OD;
  GPIO_InitStruct.Pull = GPIO_NOPULL;
  GPIO_InitStruct.Speed = GPIO_SPEED_FREQ_VERY_HIGH;
  GPIO_InitStruct.Alternate = GPIO_AF4_I2C1;
  HAL_GPIO_Init(GPIOB, &GPIO_InitStruct);

  /* EXTI interrupt init*/
  HAL_NVIC_SetPriority(EXTI1_IRQn, 5, 0);
  HAL_NVIC_EnableIRQ(EXTI1_IRQn);

  HAL_NVIC_SetPriority(EXTI9_5_IRQn, 5, 0);
  HAL_NVIC_EnableIRQ(EXTI9_5_IRQn);

  HAL_NVIC_SetPriority(EXTI15_10_IRQn, 5, 0);
  HAL_NVIC_EnableIRQ(EXTI15_10_IRQn);

}

/* USER CODE BEGIN 4 */
void Led_SetState(bool on)
{
  if (on == true)
  {
    BSP_LED_On(LED_GREEN);
  }
  else
  {
    BSP_LED_Off(LED_GREEN);
  }
}

/**
 * @brief Blink LED for 'count' cycles of 'period' period and 'duty' ON duration.
 * duty < 0 tells to start with an OFF state.
 */
void Led_Blink(int period, int duty, int count)
{
  if ( (duty > 0) && (period >= duty) )
  {
    /*  Shape:   ____
                  on |_off__ */
    do
    {
      Led_SetState(true);
      HAL_Delay(duty);
      Led_SetState(false);
      HAL_Delay(period - duty);
    } while (count--);
  }
  if ( (duty < 0) && (period >= -duty) )
  {
    /*  Shape:         ____
                __off_| on   */
    do
    {
      Led_SetState(false);
      HAL_Delay(period + duty);
      Led_SetState(true);
      HAL_Delay(-duty);
    } while (count--);
  }
}

void SPI3_IRQHandler(void)
{
  HAL_SPI_IRQHandler(&hspi);
}/** Function to read data from the socket opened into provided buffer
 * @param - Address of Network Structure
 *        - Buffer to store the data read from socket
 *        - Expected number of bytes to read from socket
 *        - Timeout in milliseconds
 * @return - Number of Bytes read on SUCCESS
 *         - -1 on FAILURE
 **/
int network_rd(Network* n, unsigned char* buffer, int len, int timeout_ms)
{
  int bytes;

  bytes = net_sock_recv((net_sockhnd_t) n->my_socket, buffer, len);
  if(bytes < 0)
  {
    msg_error("net_sock_recv failed - %d\n", bytes);
    bytes = -1;
  }

   return bytes;
}

/** Function to write data to the socket opened present in provided buffer
 * @param - Address of Network Structure
 *        - Buffer storing the data to write to socket
 *        - Number of bytes of data to write to socket
 *        - Timeout in milliseconds
 * @return - Number of Bytes written on SUCCESS
 *         - -1 on FAILURE
 **/
int network_wr(Network* n, unsigned char* buffer, int len, int timeout_ms)
{
  int rc;

  rc = net_sock_send((net_sockhnd_t) n->my_socket, buffer, len);
  if(rc < 0)
  {
    msg_error("net_sock_send failed - %d\n", rc);
    rc = -1;
  }

  return rc;
}

/* USER CODE END 4 */

void StartDefaultTask(void const * argument)
{
  for(;;)
  {
    osDelay(1);
  }
}

void HAL_TIM_PeriodElapsedCallback(TIM_HandleTypeDef *htim)
{
  /* USER CODE BEGIN Callback 0 */
	/*
	 * Periodic timeout interrupt handler callback
	 *
	 * Timer 1 is used as RTOS timebase - do not change code
	 * Timer 7 is used for RTOS real time statsistics - do not change code
	 */
  /* USER CODE END Callback 0 */
  if (htim->Instance == TIM1) {
    HAL_IncTick();
  }
  /* USER CODE BEGIN Callback 1 */
	if(htim->Instance == TIM7) {	//used for RTOS stats
		ulHighFrequencyTimerTicks++;
	}
	  if (htim->Instance == TIM6) {
		  TIM6_Handler();
	  }
  /* USER CODE END Callback 1 */
}

void Error_Handler(void)
{
  __disable_irq();
  while (1)
  {
  }
}

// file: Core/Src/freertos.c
/* USER CODE BEGIN Header */
/**
  ******************************************************************************
  * File Name          : freertos.c
  * Description        : Code for freertos applications
  ******************************************************************************
  * @attention
  *
  * Copyright (c) 2023 STMicroelectronics.
  * All rights reserved.
  *
  * This software is licensed under terms that can be found in the LICENSE file
  * in the root directory of this software component.
  * If no LICENSE file comes with this software, it is provided AS-IS.
  *
  ******************************************************************************
  */
/* USER CODE END Header */

#include "FreeRTOS.h"
#include "task.h"
#include "main.h"

/* GetIdleTaskMemory prototype (linked to static allocation support) */
void vApplicationGetIdleTaskMemory( StaticTask_t **ppxIdleTaskTCBBuffer, StackType_t **ppxIdleTaskStackBuffer, uint32_t *pulIdleTaskStackSize );

/* GetTimerTaskMemory prototype (linked to static allocation support) */
void vApplicationGetTimerTaskMemory( StaticTask_t **ppxTimerTaskTCBBuffer, StackType_t **ppxTimerTaskStackBuffer, uint32_t *pulTimerTaskStackSize );

/* Hook prototypes */
void configureTimerForRunTimeStats(void);
unsigned long getRunTimeCounterValue(void);

/* USER CODE BEGIN 1 */
/* Functions needed when configGENERATE_RUN_TIME_STATS is on */
__weak void configureTimerForRunTimeStats(void)
{

}

__weak unsigned long getRunTimeCounterValue(void)
{
return 0;
}
/* USER CODE END 1 */

/* USER CODE BEGIN GET_IDLE_TASK_MEMORY */
static StaticTask_t xIdleTaskTCBBuffer;
static StackType_t xIdleStack[configMINIMAL_STACK_SIZE];

void vApplicationGetIdleTaskMemory( StaticTask_t **ppxIdleTaskTCBBuffer, StackType_t **ppxIdleTaskStackBuffer, uint32_t *pulIdleTaskStackSize )
{
  *ppxIdleTaskTCBBuffer = &xIdleTaskTCBBuffer;
  *ppxIdleTaskStackBuffer = &xIdleStack[0];
  *pulIdleTaskStackSize = configMINIMAL_STACK_SIZE;
  /* place for user code */
}
/* USER CODE END GET_IDLE_TASK_MEMORY */

/* USER CODE BEGIN GET_TIMER_TASK_MEMORY */
static StaticTask_t xTimerTaskTCBBuffer;
static StackType_t xTimerStack[configTIMER_TASK_STACK_DEPTH];

void vApplicationGetTimerTaskMemory( StaticTask_t **ppxTimerTaskTCBBuffer, StackType_t **ppxTimerTaskStackBuffer, uint32_t *pulTimerTaskStackSize )
{
  *ppxTimerTaskTCBBuffer = &xTimerTaskTCBBuffer;
  *ppxTimerTaskStackBuffer = &xTimerStack[0];
  *pulTimerTaskStackSize = configTIMER_TASK_STACK_DEPTH;
  /* place for user code */
}
/* USER CODE END GET_TIMER_TASK_MEMORY */
